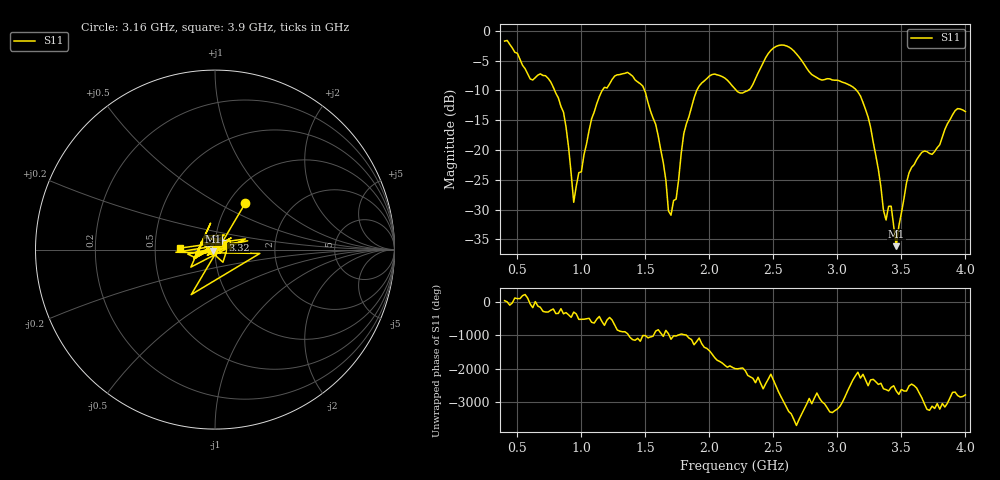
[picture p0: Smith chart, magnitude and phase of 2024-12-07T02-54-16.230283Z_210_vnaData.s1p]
!Created with skrf (http://scikit-rf.org).
# Hz S RI R 50.0
!freq ReS11 ImS11
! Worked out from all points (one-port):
!   181 points, 400 MHz to 4 GHz, reference 50 ohm
!   lowest |S11| = -36.1 dB at 3.46 GHz (marker M1), VSWR 1.03, Z = 48.8 - j0.917 ohm
!   |S11| at or under -10 dB: 790.8 MHz to 1.163 GHz (372.4 MHz wide, 38.1 % of centre); 1.493 GHz to 1.901 GHz (407.9 MHz wide, 24 % of centre); 3.15 GHz to end of sweep (the widest 3 of 4)
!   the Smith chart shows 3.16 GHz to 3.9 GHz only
!   S11 on the Smith chart (normalised r, x): 3.16 GHz: 1.19, +0.68; 3.32 GHz: 1.08, +0.12; 3.9 GHz: 0.67, +0.01
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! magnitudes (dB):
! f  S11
! 400 MHz  -1.7
! 600 MHz  -8.1
! 740 MHz  -8.0
! 860 MHz  -13.7
! 940 MHz  -28.8
! 1.12 GHz  -12.2
! 1.3 GHz  -7.4
! 1.5 GHz  -10.3
! 1.6 GHz  -17.6
! 1.68 GHz  -30.2
! 1.76 GHz  -24.9
! 1.8 GHz  -17.3
! 1.92 GHz  -9.3
! 2.04 GHz  -7.3
! 2.2 GHz  -9.8
! 2.32 GHz  -9.7
! 2.5 GHz  -2.9
! 2.66 GHz  -3.4
! 3.1 GHz  -9.2
! 3.16 GHz  -10.3
! 3.24 GHz  -14.5
! 3.32 GHz  -23.3
! 3.36 GHz  -30.1
! 3.42 GHz  -29.4
! 3.46 GHz  -36.1
! 3.56 GHz  -23.8
! 3.9 GHz  -14.1
! 4 GHz  -13.6
